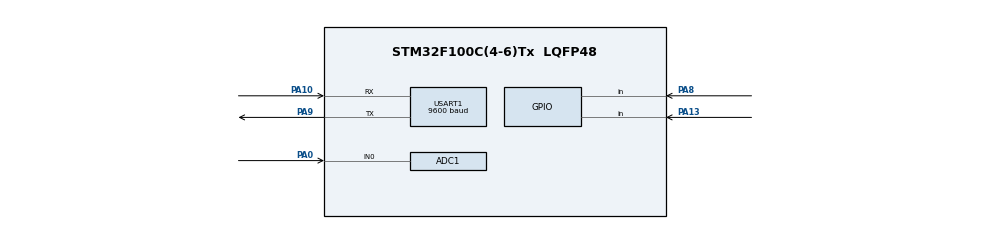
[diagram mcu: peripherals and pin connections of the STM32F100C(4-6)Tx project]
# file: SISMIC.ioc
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Mcu.Family=STM32F1
ADC1.Rank-0\#ChannelRegularConversion=1
PA10.Mode=Asynchronous
USART1.BaudRate=9600
VP_SYS_VS_ND.Mode=No_Debug
ProjectManager.StackSize=0x400
PA0-WKUP.Signal=ADCx_IN0
PA13.Signal=GPIO_Input
PA9.Mode=Asynchronous
ProjectManager.TargetToolchain=STM32CubeIDE
PA9.Signal=USART1_TX
ADC1.Channel-0\#ChannelRegularConversion=ADC_CHANNEL_0
board=custom
RCC.APB2Freq_Value=8000000
PA8.Signal=GPIO_Input
SH.ADCx_IN0.0=ADC1_IN0,IN0
Mcu.Name=STM32F100C(4-6)Tx
ADC1.SamplingTime-0\#ChannelRegularConversion=ADC_SAMPLETIME_1CYCLE_5
Mcu.Package=LQFP48
ADC1.master=1
USART1.VirtualMode=VM_ASYNC
PA10.Signal=USART1_RX
ProjectManager.HeapSize=0x200
NVIC.PriorityGroup=NVIC_PRIORITYGROUP_4
ADC1.NbrOfConversionFlag=1
RCC.APB1Freq_Value=8000000

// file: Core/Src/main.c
/* USER CODE BEGIN Header */
/**
  ******************************************************************************
  * @file           : main.c
  * @brief          : Main program body
  ******************************************************************************
  * @attention
  *
  * <h2><center>&copy; Copyright (c) 2021 STMicroelectronics.
  * All rights reserved.</center></h2>
  *
  * This software component is licensed by ST under BSD 3-Clause license,
  * the "License"; You may not use this file except in compliance with the
  * License. You may obtain a copy of the License at:
  *                        opensource.org/licenses/BSD-3-Clause
  *
  ******************************************************************************
  */
/* USER CODE END Header */
#include "main.h"

ADC_HandleTypeDef hadc1;

UART_HandleTypeDef huart1;

void SystemClock_Config(void);
static void MX_GPIO_Init(void);
static void MX_ADC1_Init(void);
static void MX_USART1_UART_Init(void);

/* USER CODE BEGIN 0 */
/* Function to transmit a char */

/*void uart_TxChar(char *string)
{
    while (*string){
    	while(!(util_IsBitCleared(LPC_UART0->LSR,SBIT_THRE)));
    	    // Wait for Previous transmission
    	LPC_UART0->THR=*string;
    	    // Load the data to be transmitted
    	string++;
    }
}*/

/*unsigned int read_ADC1(unsigned char channel)

{
	if(channel>7){
		return 0;
	}

	 HAL_ADC_Start(&hadc1);

	 HAL_Delay(200);

	 ADC1_JSQR = 0b00000001;
	 set_ADC1_regular_sequence(1, channel);
	 set_ADC1_regular_conversions(enable);

     while(ADC1_SRbits.EOC == 1);

     return (0x0FFF & ADC1_DR);

}*/

/* USER CODE END 0 */

int main(void)
{

  /* MCU Configuration--------------------------------------------------------*/

  /* Reset of all peripherals, Initializes the Flash interface and the Systick. */
  HAL_Init();

  /* Configure the system clock */
  SystemClock_Config();

  /* Initialize all configured peripherals */
  MX_GPIO_Init();
  MX_ADC1_Init();
  MX_USART1_UART_Init();

  /* USER CODE BEGIN 2 */
  HAL_Delay(1000);

  char inicio[] = "Iniciado com Sucesso! \r";
  char semgas[] = "Sem vazamento de gas! \r";
  char comgas[] = "Gas vazando! Verificar com urgencia!\r";
  char data[]= "\r\n";

  HAL_UART_Transmit(&huart1, inicio, 100, 2000);

  HAL_UART_Transmit(&huart1, data, 100, 2000);

  unsigned int ar=0;
  unsigned int x=0;
  unsigned int gas=0;
  unsigned int y=0;

  int i=0;
  int j=0;
  int l=0;

  for(i=0;i<10;i++){
	  HAL_ADC_Start(&hadc1);
   	  HAL_ADC_PollForConversion(&hadc1,0);
   	  x = HAL_ADC_GetValue(&hadc1);
      ar = ar + x;
     }
  ar = ar/10;

  uint8_t Rx_data[100];
  memset(Rx_data,0,100);

  /* USER CODE END 2 */

  /* Infinite loop */

  while (1)
  {
       gas = 0;
       while(gas<ar){
         for(j=0;j<10;j++){
             HAL_ADC_Start(&hadc1);
	    	 HAL_ADC_PollForConversion(&hadc1,0);
	    	 y = HAL_ADC_GetValue(&hadc1);
             gas = gas + y;
         }
         gas = gas/10;
       }
       if((gas-ar)>200){
         //led = 1;
         HAL_GPIO_WritePin(GPIOE,GPIO_PIN_13,GPIO_PIN_SET);
         HAL_Delay(100);
         //rele = 1;
         HAL_GPIO_WritePin(GPIOE,GPIO_PIN_8,GPIO_PIN_SET);
         if(l==1){
       	  HAL_UART_Transmit(&huart1, comgas, 100, 2000);
       	  HAL_UART_Receive (&huart1, Rx_data, 100, 2000);
       	  HAL_UART_Transmit(&huart1, data, 100, 2000);
       	  HAL_UART_Receive (&huart1, Rx_data, 100, 2000);
             //TSU(semgas);
         }
         l=0;
       }
       else{
           //led = 0;
       	HAL_GPIO_WritePin(GPIOE,GPIO_PIN_13,GPIO_PIN_RESET);
           HAL_Delay(100);
           //rele = 0;
           HAL_GPIO_WritePin(GPIOE,GPIO_PIN_8,GPIO_PIN_SET);
           if(l==0){
           	HAL_UART_Transmit(&huart1, semgas, 100, 2000);
           	HAL_UART_Receive (&huart1, Rx_data, 100, 2000);
           	HAL_UART_Transmit(&huart1, data, 100, 2000);
           	HAL_UART_Receive (&huart1, Rx_data, 100, 2000);
             //TSU(comgas);
           }
           l=1;
       }
       gas = 0;
  }
}
void SystemClock_Config(void)
{
  RCC_OscInitTypeDef RCC_OscInitStruct = {0};
  RCC_ClkInitTypeDef RCC_ClkInitStruct = {0};
  RCC_PeriphCLKInitTypeDef PeriphClkInit = {0};

  /** Initializes the RCC Oscillators according to the specified parameters
  * in the RCC_OscInitTypeDef structure.
  */
  RCC_OscInitStruct.OscillatorType = RCC_OSCILLATORTYPE_HSI;
  RCC_OscInitStruct.HSIState = RCC_HSI_ON;
  RCC_OscInitStruct.HSICalibrationValue = RCC_HSICALIBRATION_DEFAULT;
  RCC_OscInitStruct.PLL.PLLState = RCC_PLL_NONE;
  if (HAL_RCC_OscConfig(&RCC_OscInitStruct) != HAL_OK)
  {
    Error_Handler();
  }
  /** Initializes the CPU, AHB and APB buses clocks
  */
  RCC_ClkInitStruct.ClockType = RCC_CLOCKTYPE_HCLK|RCC_CLOCKTYPE_SYSCLK
                              |RCC_CLOCKTYPE_PCLK1|RCC_CLOCKTYPE_PCLK2;
  RCC_ClkInitStruct.SYSCLKSource = RCC_SYSCLKSOURCE_HSI;
  RCC_ClkInitStruct.AHBCLKDivider = RCC_SYSCLK_DIV1;
  RCC_ClkInitStruct.APB1CLKDivider = RCC_HCLK_DIV1;
  RCC_ClkInitStruct.APB2CLKDivider = RCC_HCLK_DIV1;

  if (HAL_RCC_ClockConfig(&RCC_ClkInitStruct, FLASH_LATENCY_0) != HAL_OK)
  {
    Error_Handler();
  }
  PeriphClkInit.PeriphClockSelection = RCC_PERIPHCLK_ADC;
  PeriphClkInit.AdcClockSelection = RCC_ADCPCLK2_DIV2;
  if (HAL_RCCEx_PeriphCLKConfig(&PeriphClkInit) != HAL_OK)
  {
    Error_Handler();
  }
}

static void MX_ADC1_Init(void)
{

  ADC_ChannelConfTypeDef sConfig = {0};

  /** Common config
  */
  hadc1.Instance = ADC1;
  hadc1.Init.ScanConvMode = ADC_SCAN_DISABLE;
  hadc1.Init.ContinuousConvMode = DISABLE;
  hadc1.Init.DiscontinuousConvMode = DISABLE;
  hadc1.Init.ExternalTrigConv = ADC_SOFTWARE_START;
  hadc1.Init.DataAlign = ADC_DATAALIGN_RIGHT;
  hadc1.Init.NbrOfConversion = 1;
  if (HAL_ADC_Init(&hadc1) != HAL_OK)
  {
    Error_Handler();
  }
  /** Configure Regular Channel
  */
  sConfig.Channel = ADC_CHANNEL_0;
  sConfig.Rank = ADC_REGULAR_RANK_1;
  sConfig.SamplingTime = ADC_SAMPLETIME_1CYCLE_5;
  if (HAL_ADC_ConfigChannel(&hadc1, &sConfig) != HAL_OK)
  {
    Error_Handler();
  }

}

static void MX_USART1_UART_Init(void)
{

  huart1.Instance = USART1;
  huart1.Init.BaudRate = 9600;
  huart1.Init.WordLength = UART_WORDLENGTH_8B;
  huart1.Init.StopBits = UART_STOPBITS_1;
  huart1.Init.Parity = UART_PARITY_NONE;
  huart1.Init.Mode = UART_MODE_TX_RX;
  huart1.Init.HwFlowCtl = UART_HWCONTROL_NONE;
  huart1.Init.OverSampling = UART_OVERSAMPLING_16;
  if (HAL_UART_Init(&huart1) != HAL_OK)
  {
    Error_Handler();
  }

}

static void MX_GPIO_Init(void)
{
  GPIO_InitTypeDef GPIO_InitStruct = {0};

  /* GPIO Ports Clock Enable */
  __HAL_RCC_GPIOA_CLK_ENABLE();

  /*Configure GPIO pins : PA8 PA13 */
  GPIO_InitStruct.Pin = GPIO_PIN_8|GPIO_PIN_13;
  GPIO_InitStruct.Mode = GPIO_MODE_INPUT;
  GPIO_InitStruct.Pull = GPIO_NOPULL;
  HAL_GPIO_Init(GPIOA, &GPIO_InitStruct);

}

void Error_Handler(void)
{
  __disable_irq();
  while (1)
  {
  }
}

/************************ (C) COPYRIGHT STMicroelectronics *****END OF FILE****/
